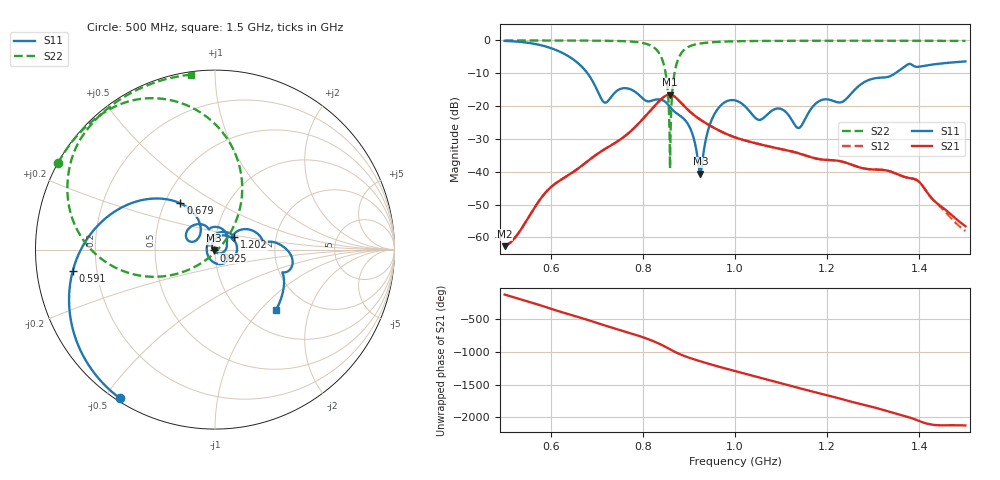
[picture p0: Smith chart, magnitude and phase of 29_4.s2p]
! TOUCHSTONE file generated by CST MICROWAVE STUDIO
! Date and time: Fri Oct  2 16:58:55 2020
! Project name: Scenario_1_Free_Space_out_of_line.cst
! Parameters = {Lambda=346.42; Step_1=17.321; dy1=-137.908; dx1=693; L_HA=400; MT=2.54; Rad_Dielectric=30; Rad_Lower=7.3; Rad_Upper=30; a_HA=580; a_WG=246; b_HA=500; b_WG=121; c_HA=0; c_WG=187; d_feed=85; h_feed=15; h_lower=18; h_upper=40}
! Header version: 2018
! Port assignment regex: !\s*Touchstone port\s*([0-9]+)\s*=\s*(CST MWS port|CST DS port)\s*([0-9]+|Zmin|Zmax)\s*\(\"(.*)\"\)(\s*mode\s*([0-9]+))?.*
! Touchstone port assignment:
! Touchstone port 1 = CST MWS port 1 ("")
! Touchstone port 2 = CST MWS port 2 ("")
# GHz S DB R 50
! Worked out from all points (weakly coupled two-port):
!   1003 points, 500 MHz to 1.5 GHz, reference 50 ohm
!   highest |S21| = -16.50 dB at 858 MHz (marker M1); lowest = -62.7 dB at 500 MHz (marker M2)
!   lowest |S11| = -40.6 dB at 925 MHz (marker M3), VSWR 1.02, Z = 49.2 - j0.474 ohm
!   |S11| at or under -10 dB: 679.8 MHz to 1.348 GHz (668 MHz wide, 65.9 % of centre)
!   |S22| runs from -39.0 to 0.0 dB; largest |S21 - S12| = 0.00029
!   S11 on the Smith chart (normalised r, x): 500 MHz: 0.01, -0.55; 591 MHz: 0.11, -0.07; 679 MHz: 0.60, +0.35; 925 MHz: 0.98, -0.01; 1.202 GHz: 1.22, +0.17; 1.5 GHz: 1.40, -1.23
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0.5  -0.15 -122.6  -62.69 -118.3  -62.69 -118.3  -0.01 151.1
0.591  -1.92 -171.4  -46.01 46.2  -46.01 46.2  -0.02 144.8
0.667  -7.92 135.3  -38.23 -118.7  -38.23 -118.7  -0.04 138.3
0.679  -9.85 126.9  -36.92 -144.8  -36.92 -144.8  -0.05 137.1
0.717  -18.93 142.0  -33.14 128.9  -33.14 128.9  -0.10 132.6
0.759  -14.54 145.1  -29.38 38.5  -29.38 38.5  -0.23 125.6
0.834  -17.94 87.5  -18.70 -147.5  -18.70 -147.5  -3.59 86.9
0.848  -18.64 63.9  -16.96 164.2  -16.96 164.2  -8.88 65.1
0.858  -20.09 47.7  -16.50 125.9  -16.50 125.9  -28.30 30.7
0.878  -22.67 24.3  -18.28 53.8  -18.28 53.8  -5.26 -168.4
0.904  -27.19 -24.1  -21.93 -15.8  -21.93 -15.8  -1.63 166.0
0.925  -40.58 -149.0  -24.17 -62.6  -24.17 -62.6  -0.92 156.1
0.954  -22.82 78.8  -26.60 -123.0  -26.60 -123.0  -0.51 148.1
1  -18.27 -3.4  -29.53 148.5  -29.53 148.5  -0.26 140.2
1.051  -24.18 -31.6  -31.55 53.0  -31.55 53.0  -0.17 134.2
1.101  -20.93 -60.8  -33.13 -40.7  -33.13 -40.7  -0.12 129.6
1.137  -26.69 -174.6  -34.34 -109.4  -34.34 -109.4  -0.10 126.5
1.167  -20.49 79.5  -35.66 -164.0  -35.66 -164.0  -0.09 124.1
1.202  -17.98 32.7  -36.43 135.2  -36.43 135.2  -0.09 121.4
1.334  -11.03 8.1  -39.80 -113.9  -39.80 -113.9  -0.09 111.4
1.397  -8.04 -18.8  -42.80 109.8  -42.79 109.6  -0.10 106.5
1.5  -6.40 -44.9  -56.60 33.7  -58.06 33.3  -0.14 97.8
